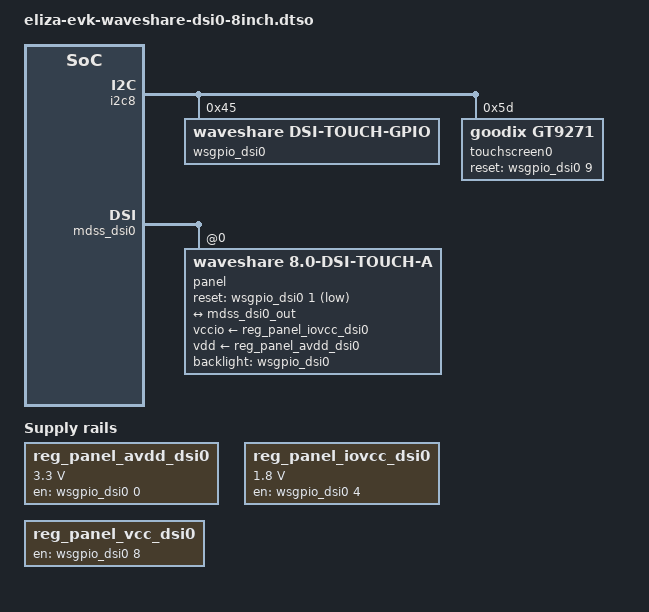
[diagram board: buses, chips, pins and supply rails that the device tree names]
// SPDX-License-Identifier: BSD-3-Clause
/*
 * Copyright (c) Qualcomm Technologies, Inc. and/or its subsidiaries.
 */

/dts-v1/;
/plugin/;

#include <dt-bindings/gpio/gpio.h>

&{/} {
	reg_panel_avdd_dsi0: regulator-panel-avdd-dsi0 {
		compatible = "regulator-fixed";
		gpio = <&wsgpio_dsi0 0 GPIO_ACTIVE_HIGH>;
		regulator-name = "panel-avdd-dsi0";
		regulator-min-microvolt = <3300000>;
		regulator-max-microvolt = <3300000>;
		enable-active-high;
	};

	reg_panel_iovcc_dsi0: regulator-panel-iovcc-dsi0 {
		compatible = "regulator-fixed";
		gpio = <&wsgpio_dsi0 4 GPIO_ACTIVE_HIGH>;
		regulator-name = "panel-iovcc-dsi0";
		regulator-min-microvolt = <1800000>;
		regulator-max-microvolt = <1800000>;
		enable-active-high;
	};

	reg_panel_vcc_dsi0: regulator-panel-vcc-dsi0 {
		compatible = "regulator-fixed";
		regulator-name = "panel-vcc-dsi0";
		gpios = <&wsgpio_dsi0 8 GPIO_ACTIVE_HIGH>;
		enable-active-high;
		regulator-always-on;
	};
};

&hdmi_bridge {
	status = "disabled";
};

&hdmi_0_connector {
	status = "disabled";
};

&i2c8 {
	#address-cells = <1>;
	#size-cells = <0>;

	wsgpio_dsi0: gpio@45 {
		compatible = "waveshare,dsi-touch-gpio";
		reg = <0x45>;
		gpio-controller;
		#gpio-cells = <2>;
	};

	touchscreen0@5d {
		compatible = "goodix,gt9271";
		reg = <0x5d>;
		reset-gpios = <&wsgpio_dsi0 9 GPIO_ACTIVE_HIGH>;
	};
};

&mdss_dsi0 {
	#address-cells = <1>;
	#size-cells = <0>;

	panel@0 {
		compatible = "waveshare,8.0-dsi-touch-a", "jadard,jd9365da-h3";
		reg = <0>;
		backlight = <&wsgpio_dsi0>;
		reset-gpios = <&wsgpio_dsi0 1 GPIO_ACTIVE_LOW>;
		vccio-supply = <&reg_panel_iovcc_dsi0>;
		vdd-supply = <&reg_panel_avdd_dsi0>;

		port {
			panel0_in: endpoint {
				remote-endpoint = <&mdss_dsi0_out>;
			};
		};
	};
};

&mdss_dsi0_out {
	remote-endpoint = <&panel0_in>;
};
